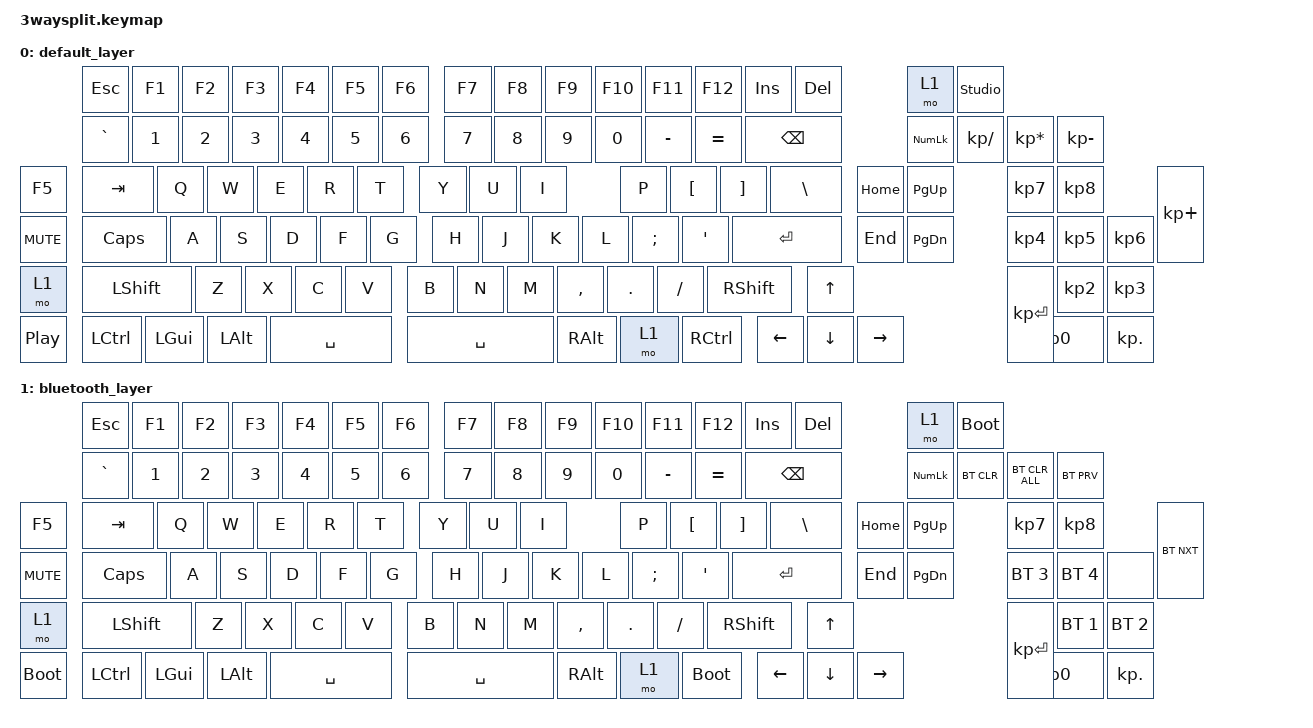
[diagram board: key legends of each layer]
/*
 * Copyright (c) 2020 The ZMK Contributors
 *
 * SPDX-License-Identifier: MIT
 */

#include <behaviors.dtsi>
#include <dt-bindings/zmk/keys.h>
#include <dt-bindings/zmk/outputs.h>
#include <dt-bindings/zmk/bt.h>
#include <dt-bindings/zmk/ext_power.h>

/ {
    keymap{
        compatible = "zmk,keymap";
        default_layer {
            bindings = <
                &kp ESCAPE &kp F1 &kp F2 &kp F3 &kp F4 &kp F5 &kp F6 &kp F7 &kp F8 &kp F9 &kp F10 &kp F11 &kp F12 &kp INSERT &kp DELETE &mo 1 &studio_unlock
                &kp GRAVE &kp NUMBER_1 &kp NUMBER_2 &kp NUMBER_3 &kp NUMBER_4 &kp NUMBER_5 &kp NUMBER_6 &kp NUMBER_7 &kp NUMBER_8 &kp NUMBER_9 &kp NUMBER_0 &kp MINUS &kp EQUAL &kp BACKSPACE &kp KP_NUMLOCK &kp KP_DIVIDE &kp KP_MULTIPLY &kp KP_MINUS
                &kp F5 &kp TAB &kp Q &kp W &kp E &kp R &kp T &kp Y &kp U &kp I &kp O &kp P &kp LEFT_BRACKET &kp RIGHT_BRACKET &kp BACKSLASH &kp HOME &kp PAGE_UP &kp KP_NUMBER_7 &kp KP_NUMBER_8 &kp KP_NUMBER_9
                &kp C_MUTE &kp CAPSLOCK &kp A &kp S &kp D &kp F &kp G &kp H &kp J &kp K &kp L &kp SEMICOLON &kp SINGLE_QUOTE &kp ENTER &kp END &kp PAGE_DOWN &kp KP_NUMBER_4 &kp KP_NUMBER_5 &kp KP_NUMBER_6 &kp KP_PLUS
                &mo 1 &kp LEFT_SHIFT &kp Z &kp X &kp C &kp V &kp B &kp N &kp M &kp COMMA &kp PERIOD &kp SLASH &kp RIGHT_SHIFT &kp UP &kp KP_NUMBER_1 &kp KP_NUMBER_2 &kp KP_NUMBER_3
                &kp C_PLAY_PAUSE &kp LEFT_CONTROL &kp LEFT_GUI &kp LEFT_ALT &kp SPACE &kp SPACE &kp RIGHT_ALT &mo 1 &kp RIGHT_CONTROL &kp LEFT &kp DOWN &kp RIGHT &kp KP_NUMBER_0 &kp KP_DOT &kp KP_ENTER 
            >;
        }; 

        bluetooth_layer {
            bindings = <
                &kp ESCAPE &kp F1 &kp F2 &kp F3 &kp F4 &kp F5 &kp F6 &kp F7 &kp F8 &kp F9 &kp F10 &kp F11 &kp F12 &kp INSERT &kp DELETE &mo 1 &bootloader
                &kp GRAVE &kp NUMBER_1 &kp NUMBER_2 &kp NUMBER_3 &kp NUMBER_4 &kp NUMBER_5 &kp NUMBER_6 &kp NUMBER_7 &kp NUMBER_8 &kp NUMBER_9 &kp NUMBER_0 &kp MINUS &kp EQUAL &kp BACKSPACE &kp KP_NUMLOCK &bt BT_CLR &bt BT_CLR_ALL &bt BT_PRV
                &kp F5 &kp TAB &kp Q &kp W &kp E &kp R &kp T &kp Y &kp U &kp I &kp O &kp P &kp LEFT_BRACKET &kp RIGHT_BRACKET &kp BACKSLASH &kp HOME &kp PAGE_UP &kp KP_NUMBER_7 &kp KP_NUMBER_8 &kp KP_NUMBER_9
                &kp C_MUTE &kp CAPSLOCK &kp A &kp S &kp D &kp F &kp G &kp H &kp J &kp K &kp L &kp SEMICOLON &kp SINGLE_QUOTE &kp ENTER &kp END &kp PAGE_DOWN &bt BT_SEL 3 &bt BT_SEL 4 &none &bt BT_NXT
                &mo 1 &kp LEFT_SHIFT &kp Z &kp X &kp C &kp V &kp B &kp N &kp M &kp COMMA &kp PERIOD &kp SLASH &kp RIGHT_SHIFT &kp UP &bt BT_SEL 0 &bt BT_SEL 1 &bt BT_SEL 2
                &bootloader &kp LEFT_CONTROL &kp LEFT_GUI &kp LEFT_ALT &kp SPACE &kp SPACE &kp RIGHT_ALT &mo 1 &bootloader &kp LEFT &kp DOWN &kp RIGHT &kp KP_NUMBER_0 &kp KP_DOT &kp KP_ENTER 
            >;
        }; 
    };
};       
